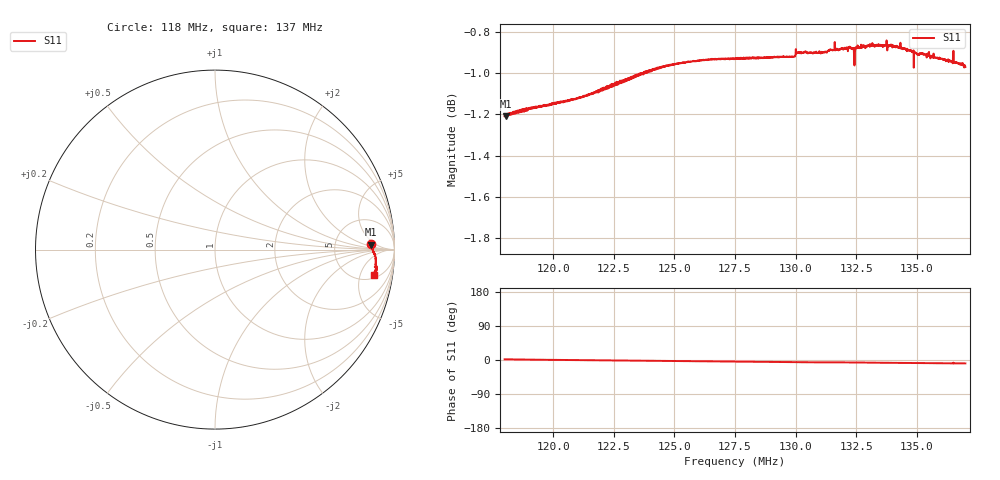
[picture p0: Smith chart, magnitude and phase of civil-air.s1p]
! Calibrated averaged scanner-service zoom
# Hz S RI R 50
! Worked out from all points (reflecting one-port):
!   2001 points, 118 MHz to 137 MHz, reference 50 ohm
!   lowest |S11| = -1.2 dB at 118 MHz (marker M1), VSWR 14.38, Z = 682 + j158 ohm
!   phase of S11 starts at 2 deg and turns -11 deg over the sweep
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1.18e8  0.8696 0.0289
1.18038e8  0.8695 0.0281
1.19273e8  0.8741 0.012
1.20375e8  0.8769 0.00131
1.21249e8  0.8798 -0.00594
1.2275e8  0.8873 -0.0203
1.24194e8  0.8928 -0.0357
1.25125e8  0.8948 -0.046
1.275e8  0.8957 -0.0708
1.29875e8  0.895 -0.0903
1.30103e8  0.8967 -0.0917
1.304545e8  0.8969 -0.0935
1.31205e8  0.8963 -0.0994
1.314045e8  0.8978 -0.0969
1.31547e8  0.8977 -0.0967
1.3225e8  0.8988 -0.1015
1.323545e8  0.898 -0.1016
1.32497e8  0.8978 -0.1033
1.325445e8  0.898 -0.1035
1.326395e8  0.8982 -0.1043
1.33675e8  0.8979 -0.1158
1.34625e8  0.8942 -0.1255
1.34967e8  0.8923 -0.1283
1.352045e8  0.8919 -0.1284
1.36392e8  0.8865 -0.1369
1.3643e8  0.8865 -0.1373
1.366105e8  0.8861 -0.1381
1.37e8  0.8833 -0.1398
